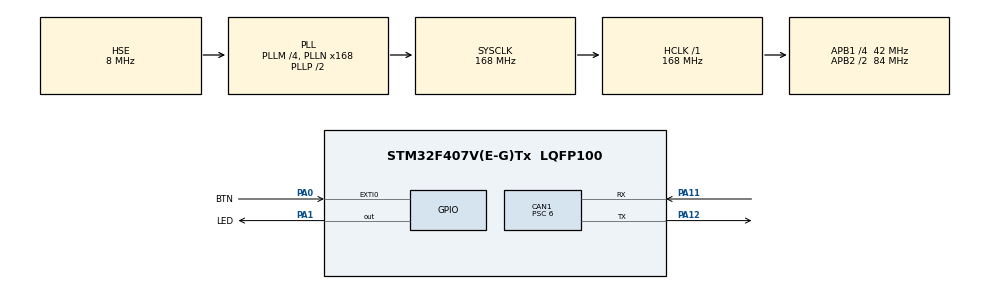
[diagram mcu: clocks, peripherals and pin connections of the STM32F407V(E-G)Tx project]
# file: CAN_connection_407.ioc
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CAN1.BS1=CAN_BS1_11TQ
CAN1.BS2=CAN_BS2_2TQ
CAN1.CalculateBaudRate=500000
CAN1.CalculateTimeBit=1999.99
CAN1.CalculateTimeQuantum=142.85714285714286
CAN1.Prescaler=6
Mcu.Family=STM32F4
Mcu.Name=STM32F407V(E-G)Tx
Mcu.Package=LQFP100
NVIC.CAN1_RX0_IRQn=true\:0\:0\:false\:false\:true\:true\:true
NVIC.EXTI0_IRQn=true\:0\:0\:false\:false\:true\:true\:true
NVIC.PriorityGroup=NVIC_PRIORITYGROUP_4
PA0-WKUP.GPIO_Label=BTN
PA0-WKUP.GPIO_PuPd=GPIO_PULLDOWN
PA0-WKUP.Signal=GPXTI0
PA1.GPIO_Label=LED
PA1.Signal=GPIO_Output
PA11.Mode=CAN_Activate
PA11.Signal=CAN1_RX
PA12.Mode=CAN_Activate
PA12.Signal=CAN1_TX
PA13.Mode=Trace_Asynchronous_SW
PA13.Signal=SYS_JTMS-SWDIO
PA14.Mode=Trace_Asynchronous_SW
PA14.Signal=SYS_JTCK-SWCLK
PB3.Mode=Trace_Asynchronous_SW
PB3.Signal=SYS_JTDO-SWO
PH0-OSC_IN.Mode=HSE-External-Oscillator
PH0-OSC_IN.Signal=RCC_OSC_IN
PH1-OSC_OUT.Mode=HSE-External-Oscillator
PH1-OSC_OUT.Signal=RCC_OSC_OUT
ProjectManager.HeapSize=0x200
ProjectManager.StackSize=0x400
ProjectManager.TargetToolchain=STM32CubeIDE
RCC.48MHZClocksFreq_Value=84000000
RCC.AHBFreq_Value=168000000
RCC.APB1CLKDivider=RCC_HCLK_DIV4
RCC.APB1Freq_Value=42000000
RCC.APB1TimFreq_Value=84000000
RCC.APB2CLKDivider=RCC_HCLK_DIV2
RCC.APB2Freq_Value=84000000
RCC.APB2TimFreq_Value=168000000
RCC.CortexFreq_Value=168000000
RCC.HCLKFreq_Value=168000000
RCC.HSE_VALUE=8000000
RCC.HSI_VALUE=16000000
RCC.LSE_VALUE=32768
RCC.PLLM=4
RCC.PLLN=168
RCC.PLLSourceVirtual=RCC_PLLSOURCE_HSE
RCC.SYSCLKFreq_VALUE=168000000
RCC.SYSCLKSource=RCC_SYSCLKSOURCE_PLLCLK
RCC.VCOOutputFreq_Value=336000000
board=custom

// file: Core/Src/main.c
/* USER CODE BEGIN Header */
/** MASTER-407
  ******************************************************************************
  * @file           : main.c
  * @brief          : Main program body
  ******************************************************************************
  * @attention
  *
  * <h2><center>&copy; Copyright (c) 2021 STMicroelectronics.
  * All rights reserved.</center></h2>
  *
  * This software component is licensed by ST under BSD 3-Clause license,
  * the "License"; You may not use this file except in compliance with the
  * License. You may obtain a copy of the License at:
  *                        opensource.org/licenses/BSD-3-Clause
  *
  ******************************************************************************
  */
/* USER CODE END Header */
#include "main.h"

CAN_HandleTypeDef hcan1;

void SystemClock_Config(void);
static void MX_GPIO_Init(void);
static void MX_CAN1_Init(void);

/* USER CODE BEGIN 0 */

CAN_TxHeaderTypeDef TxHeader; // Для хранения исходящих сообщений.
CAN_RxHeaderTypeDef RxHeader; // Для хранения входящих сообщений.

uint8_t TxData[8];
uint8_t RxData[8];

uint32_t TxMailbox;  //

int datacheck = 0; // Создадим флаг.

// При нажатии на кнопку уст-ву Slave сообщим сколько раз мигнуть и с какой скоростью.
void HAL_GPIO_EXTI_Callback(uint16_t GPIO_Pin)
{
	if (GPIO_Pin == GPIO_PIN_0) // BTN_Pin
	{
		TxData[0] = 1000;   // ms Delay для LED на 103-й.
		TxData[1] = 10;    // loop rep для LED на 103-й сколько раз нужно мигнуть.

		HAL_CAN_AddTxMessage(&hcan1, &TxHeader, TxData, &TxMailbox); // Отправлка сообщения по CAN шине.
	}
}

// Уведомление о получении сообщения от Blue Pill вызовем Callback!
void HAL_CAN_RxFifo0MsgPendingCallback(CAN_HandleTypeDef *hcan)
{   // Получаем сообщение из FIFO0 и сохраняем в RxData!
	HAL_CAN_GetRxMessage(hcan, CAN_RX_FIFO0, &RxHeader, RxData);
	if (RxHeader.DLC == 2) // Если получили данные 2 бита то,
	{
		datacheck = 1; // установим флаг в 1-цу и в цикле запустим blink LED!
	}
}

/* USER CODE END 0 */

int main(void)
{

  /* MCU Configuration--------------------------------------------------------*/

  /* Reset of all peripherals, Initializes the Flash interface and the Systick. */
  HAL_Init();

  /* Configure the system clock */
  SystemClock_Config();

  /* Initialize all configured peripherals */
  MX_GPIO_Init();
  MX_CAN1_Init();
  /* USER CODE BEGIN 2 */
  /* Initialize all configured peripherals */

  HAL_CAN_Start(&hcan1);

  // Activate the notification
  HAL_CAN_ActivateNotification(&hcan1, CAN_IT_RX_FIFO0_MSG_PENDING);

  TxHeader.DLC = 2;  // data length 2 байта будем отправлять. 1-й байт пауза для LED на 103-й, а 2-й байт коли-во блинков.
  TxHeader.IDE = CAN_ID_STD;
  TxHeader.RTR = CAN_RTR_DATA;
  TxHeader.StdId = 0x446;  // ID

  /* USER CODE END 2 */

  /* Infinite loop */
  while (1)
  {

    /* USER CODE BEGIN 3 */
	  HAL_Delay (1000);

	  if (datacheck)
	  {
		  // blink the LED
		  for (int i=0; i<RxData[1]; i++)
		  {
			  HAL_GPIO_TogglePin(GPIOA, GPIO_PIN_1);
			  HAL_Delay(RxData[0]);
		  }

		  datacheck = 0;
		  // После того как приняли и отмаргали отправляем "посылку"!
		  //HAL_CAN_AddTxMessage(&hcan, &TxHeader, TxData, &TxMailbox);

	  }
  }
  /* USER CODE END 3 */
}

void SystemClock_Config(void)
{
  RCC_OscInitTypeDef RCC_OscInitStruct = {0};
  RCC_ClkInitTypeDef RCC_ClkInitStruct = {0};

  /** Configure the main internal regulator output voltage
  */
  __HAL_RCC_PWR_CLK_ENABLE();
  __HAL_PWR_VOLTAGESCALING_CONFIG(PWR_REGULATOR_VOLTAGE_SCALE1);
  /** Initializes the RCC Oscillators according to the specified parameters
  * in the RCC_OscInitTypeDef structure.
  */
  RCC_OscInitStruct.OscillatorType = RCC_OSCILLATORTYPE_HSE;
  RCC_OscInitStruct.HSEState = RCC_HSE_ON;
  RCC_OscInitStruct.PLL.PLLState = RCC_PLL_ON;
  RCC_OscInitStruct.PLL.PLLSource = RCC_PLLSOURCE_HSE;
  RCC_OscInitStruct.PLL.PLLM = 4;
  RCC_OscInitStruct.PLL.PLLN = 168;
  RCC_OscInitStruct.PLL.PLLP = RCC_PLLP_DIV2;
  RCC_OscInitStruct.PLL.PLLQ = 4;
  if (HAL_RCC_OscConfig(&RCC_OscInitStruct) != HAL_OK)
  {
    Error_Handler();
  }
  /** Initializes the CPU, AHB and APB buses clocks
  */
  RCC_ClkInitStruct.ClockType = RCC_CLOCKTYPE_HCLK|RCC_CLOCKTYPE_SYSCLK
                              |RCC_CLOCKTYPE_PCLK1|RCC_CLOCKTYPE_PCLK2;
  RCC_ClkInitStruct.SYSCLKSource = RCC_SYSCLKSOURCE_PLLCLK;
  RCC_ClkInitStruct.AHBCLKDivider = RCC_SYSCLK_DIV1;
  RCC_ClkInitStruct.APB1CLKDivider = RCC_HCLK_DIV4;
  RCC_ClkInitStruct.APB2CLKDivider = RCC_HCLK_DIV2;

  if (HAL_RCC_ClockConfig(&RCC_ClkInitStruct, FLASH_LATENCY_5) != HAL_OK)
  {
    Error_Handler();
  }
}

static void MX_CAN1_Init(void)
{

  hcan1.Instance = CAN1;
  hcan1.Init.Prescaler = 6;
  hcan1.Init.Mode = CAN_MODE_NORMAL;
  hcan1.Init.SyncJumpWidth = CAN_SJW_1TQ;
  hcan1.Init.TimeSeg1 = CAN_BS1_11TQ;
  hcan1.Init.TimeSeg2 = CAN_BS2_2TQ;
  hcan1.Init.TimeTriggeredMode = DISABLE;
  hcan1.Init.AutoBusOff = DISABLE;
  hcan1.Init.AutoWakeUp = DISABLE;
  hcan1.Init.AutoRetransmission = DISABLE;
  hcan1.Init.ReceiveFifoLocked = DISABLE;
  hcan1.Init.TransmitFifoPriority = DISABLE;
  if (HAL_CAN_Init(&hcan1) != HAL_OK)
  {
    Error_Handler();
  }
  /* USER CODE BEGIN CAN1_Init 2 */
  CAN_FilterTypeDef canfilterconfig;

   canfilterconfig.FilterActivation = CAN_FILTER_ENABLE;
   canfilterconfig.FilterBank = 18;  // which filter bank to use from the assigned ones
   canfilterconfig.FilterFIFOAssignment = CAN_FILTER_FIFO0;
   canfilterconfig.FilterIdHigh = 0x103<<5; // Указ-ем чему должны быть равны пров-е биты!
   canfilterconfig.FilterIdLow = 0;
   canfilterconfig.FilterMaskIdHigh = 0x103<<5; // Какие биты проверять!
   canfilterconfig.FilterMaskIdLow = 0x0000;
   canfilterconfig.FilterMode = CAN_FILTERMODE_IDMASK;
   canfilterconfig.FilterScale = CAN_FILTERSCALE_32BIT;
   canfilterconfig.SlaveStartFilterBank = 20;  // how many filters to assign to the CAN1 (master can)
                                               // После 20 FilterBank мы будем использовать FilterBank 18!
   HAL_CAN_ConfigFilter(&hcan1, &canfilterconfig);
  /* USER CODE END CAN1_Init 2 */

}

static void MX_GPIO_Init(void)
{
  GPIO_InitTypeDef GPIO_InitStruct = {0};

  /* GPIO Ports Clock Enable */
  __HAL_RCC_GPIOH_CLK_ENABLE();
  __HAL_RCC_GPIOA_CLK_ENABLE();
  __HAL_RCC_GPIOB_CLK_ENABLE();

  /*Configure GPIO pin Output Level */
  HAL_GPIO_WritePin(LED_GPIO_Port, LED_Pin, GPIO_PIN_RESET);

  /*Configure GPIO pin : BTN_Pin */
  GPIO_InitStruct.Pin = BTN_Pin;
  GPIO_InitStruct.Mode = GPIO_MODE_IT_RISING;
  GPIO_InitStruct.Pull = GPIO_PULLDOWN;
  HAL_GPIO_Init(BTN_GPIO_Port, &GPIO_InitStruct);

  /*Configure GPIO pin : LED_Pin */
  GPIO_InitStruct.Pin = LED_Pin;
  GPIO_InitStruct.Mode = GPIO_MODE_OUTPUT_PP;
  GPIO_InitStruct.Pull = GPIO_NOPULL;
  GPIO_InitStruct.Speed = GPIO_SPEED_FREQ_LOW;
  HAL_GPIO_Init(LED_GPIO_Port, &GPIO_InitStruct);

  /* EXTI interrupt init*/
  HAL_NVIC_SetPriority(EXTI0_IRQn, 0, 0);
  HAL_NVIC_EnableIRQ(EXTI0_IRQn);

}

void Error_Handler(void)
{
  __disable_irq();
  while (1)
  {
  }
}

/************************ (C) COPYRIGHT STMicroelectronics *****END OF FILE****/
